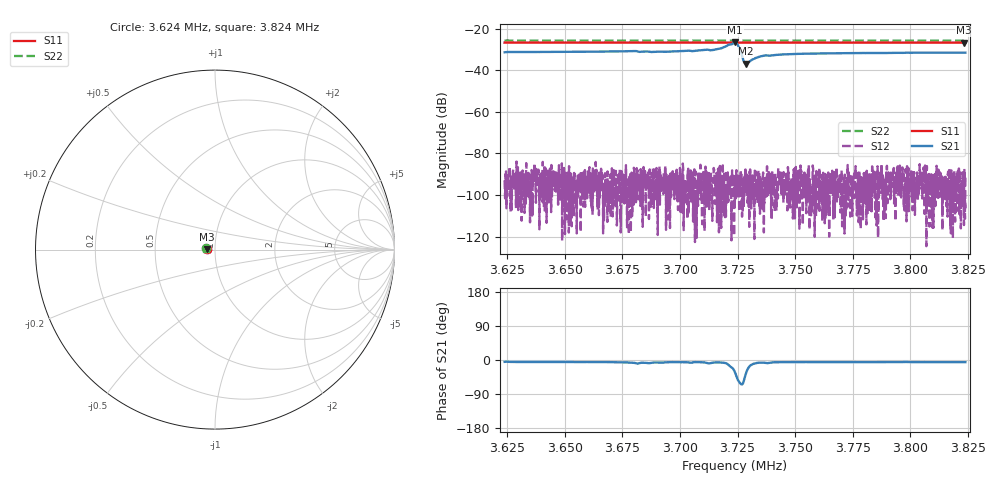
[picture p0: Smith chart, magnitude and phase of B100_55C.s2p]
# Hz S dB R 50.000
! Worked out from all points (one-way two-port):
!   6401 points, 3.624 MHz to 3.824 MHz, reference 50 ohm
!   highest |S21| = -26.68 dB at 3.724 MHz (marker M1); lowest = -36.9 dB at 3.729 MHz (marker M2)
!   lowest |S11| = -26.8 dB at 3.823 MHz (marker M3), VSWR 1.10, Z = 45.6 + j0.335 ohm
!   |S11| at or under -10 dB: start of sweep to end of sweep
!   |S22| runs from -25.8 to -25.7 dB; largest |S21 - S12| = 0.046
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3623906  -26.73 173.7  -31.40 -4.9  -92.96 13.8  -25.72 172.0
3657250  -26.74 174.0  -31.15 -5.5  -92.99 97.0  -25.74 172.3
3680156  -26.74 174.2  -30.78 -7.5  -88.10 77.8  -25.76 172.5
3682656  -26.75 174.2  -31.21 -7.7  -98.95 -88.7  -25.76 172.5
3690594  -26.74 174.2  -31.10 -6.6  -89.29 71.2  -25.76 172.5
3705844  -26.74 174.4  -30.83 -6.0  -95.48 32.4  -25.77 172.7
3711344  -26.75 174.4  -30.14 -7.1  -96.96 108.4  -25.77 172.8
3714094  -26.75 174.5  -30.35 -7.1  -105.00 13.3  -25.77 172.8
3718094  -26.75 174.5  -29.43 -6.8  -96.51 -3.8  -25.77 172.8
3723906  -26.75 174.6  -26.68 -32.5  -91.47 9.3  -25.77 172.9
3724594  -26.75 174.6  -27.01 -43.8  -89.14 119.1  -25.78 172.8
3725344  -26.74 174.5  -28.40 -54.7  -93.09 26.4  -25.78 172.9
3726094  -26.75 174.6  -30.22 -60.9  -96.49 99.9  -25.79 172.9
3727687  -26.75 174.6  -35.73 -55.9  -100.29 -171.6  -25.78 172.9
3728594  -26.74 174.6  -36.90 -36.7  -93.49 96.1  -25.78 172.9
3729344  -26.75 174.6  -36.59 -24.7  -103.85 37.9  -25.78 172.9
3732968  -26.75 174.6  -34.13 -8.4  -88.73 70.1  -25.78 172.9
3736531  -26.75 174.7  -33.00 -7.2  -100.63 -33.9  -25.78 173.0
3757250  -26.76 174.8  -32.02 -5.6  -108.02 155.5  -25.80 173.1
3790594  -26.76 175.1  -31.74 -5.5  -94.29 69.1  -25.81 173.4
3823125  -26.78 175.4  -31.57 -5.8  -92.33 87.2  -25.84 173.7
3823906  -26.77 175.4  -31.57 -5.8  -91.62 57.3  -25.83 173.7
